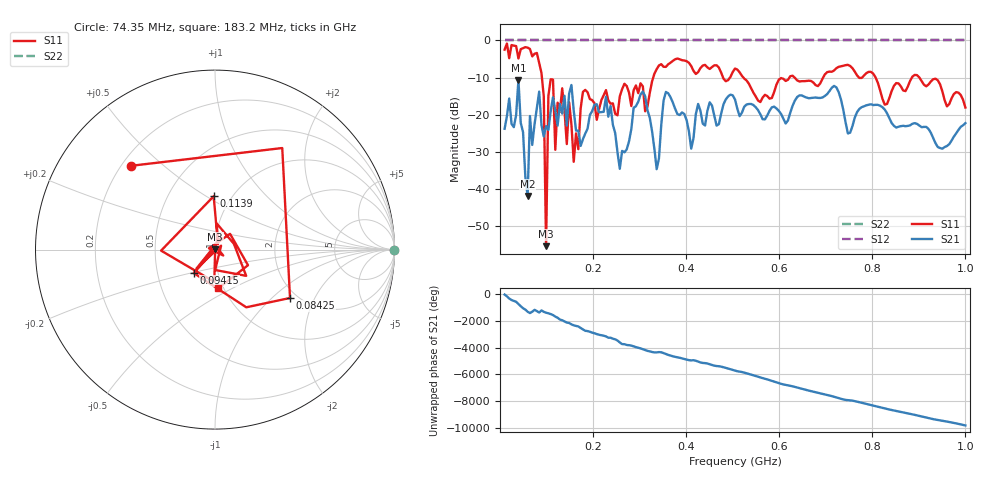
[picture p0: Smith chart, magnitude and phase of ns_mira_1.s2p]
! Anritsu VNA Master:  Model: MS2024B
! SN:  2417009
! /card0/usr/ns_mira_1.s2p
! Existing Calibration Information:
! TYPE:  Current Settings,  Active Cal Settings
! TIME:  10/26/2026 12:23:47 PM,  10/26/2026 11:43:50 AM
! INTERNAL TEMP:  51.3 C,  42.8 C
! # POINTS:  201,  201
! START FREQ:  10.000 MHz,  10.000 MHz
! STOP FREQ:  1.000 GHz,  1.000 GHz
! SOURCE POWER:  Default,  Default
! IFBW:  1 kHz,  1 kHz
! AVG FACTOR:  1 ,  1
! REF PLANE 1:  0 mm,  0 mm
! REF PLANE 2:  0 mm,  0 mm
! CAL TYPE:  1P2P S11,S21,  1P2P S11,S21
! CAL METHOD:  SOLT,  SOLT
! CAL LINE TYPE:  Coax,  Coax
! DUT PORT 1:  N-Conn(M),  N-Conn(M)
! DUT PORT 2:  N-Conn(M),  N-Conn(M)
! CAL STATUS:  ?T: Accuracy moderate (|Temp diff| > 5.0 C),  --
# GHZ S DB R 50.0
! FREQ.GHZ  S11DB  S11A  S21DB  S21A  S12DB  S12A  S22DB  S22A
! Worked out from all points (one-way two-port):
!   201 points, 10 MHz to 1 GHz, reference 50 ohm
!   highest |S21| = -10.63 dB at 39.7 MHz (marker M1); lowest = -41.9 dB at 59.5 MHz (marker M2)
!   lowest |S11| = -55.4 dB at 99.1 MHz (marker M3), VSWR 1.00, Z = 50.1 + j0.145 ohm
!   |S11| at or under -10 dB: 90.19 MHz to 329.3 MHz (239.1 MHz wide, 114 % of centre); 523.1 MHz to 621.8 MHz (98.67 MHz wide, 17.2 % of centre); 901.3 MHz to end of sweep (the widest 3 of 7)
!   |S22| runs from 0.0 to 0.0 dB; largest |S21 - S12| = 1.2
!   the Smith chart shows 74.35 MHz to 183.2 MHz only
!   S11 on the Smith chart (normalised r, x): 74.35 MHz: 0.24, +0.39; 84.25 MHz: 1.83, -1.31; 94.15 MHz: 0.76, -0.21; 114 MHz: 0.83, +0.54; 183.2 MHz: 0.94, -0.43
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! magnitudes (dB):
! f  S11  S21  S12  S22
! 10 MHz  -2.5  -23.8  0.0  0.0
! 39.7 MHz  -4.9  -10.6  0.0  0.0
! 59.5 MHz  -1.9  -41.9  0.0  0.0
! 74.35 MHz  -3.6  -22.5  0.0  0.0
! 84.25 MHz  -6.1  -13.8  0.0  0.0
! 94.15 MHz  -15.1  -25.8  0.0  0.0
! 99.1 MHz  -55.4  -23.0  0.0  0.0
! 104 MHz  -14.9  -24.0  0.0  0.0
! 114 MHz  -10.5  -15.3  0.0  0.0
! 118.9 MHz  -29.4  -18.8  0.0  0.0
! 133.8 MHz  -12.9  -19.7  0.0  0.0
! 158.5 MHz  -32.7  -18.8  0.0  0.0
! 178.3 MHz  -13.8  -26.6  0.0  0.0
! 183.2 MHz  -13.3  -25.1  0.0  0.0
! 257.5 MHz  -15.0  -34.5  0.0  0.0
! 307 MHz  -12.4  -13.7  0.0  0.0
! 341.6 MHz  -6.7  -31.7  0.0  0.0
! 356.5 MHz  -7.1  -13.9  0.0  0.0
! 505 MHz  -7.6  -15.9  0.0  0.0
! 673.3 MHz  -11.3  -15.4  0.0  0.0
! 836.6 MHz  -15.5  -20.9  0.0  0.0
! 1 GHz  -18.0  -22.3  0.0  0.0
